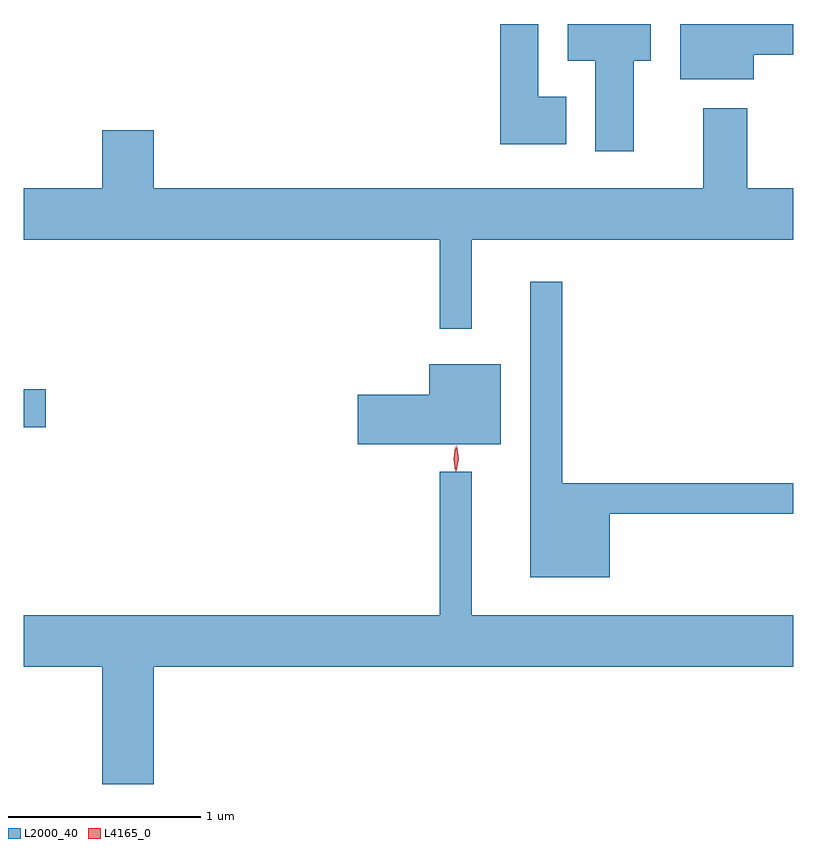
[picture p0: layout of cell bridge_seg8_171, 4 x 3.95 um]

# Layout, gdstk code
import gdstk
lib = gdstk.Library(unit=1e-6, precision=1e-09)
def R(c, l, rs):  # rectangles x0, y0, x1, y1
    for r in rs: c.add(gdstk.rectangle(r[:2], r[2:], *l))
def P(c, l, *ps):  # polygons
    for p in ps: c.add(gdstk.Polygon(p, *l))
L2000_40 = (2000, 40)
L4165_0 = (4165, 0)

bridge_seg8_171 = lib.new_cell('bridge_seg8_171')
R(bridge_seg8_171, L2000_40, [(1413.469,1942.001,1413.584,1942.199)])
P(bridge_seg8_171, L2000_40, [(1416.639,1943.906),(1416.729,1943.906),(1416.729,1944.097),(1416.296,1944.097),(1416.296,1943.906),(1416.441,1943.906),(1416.441,1943.436),(1416.639,1943.436)],
  [(1416.289,1943.719),(1416.144,1943.719),(1416.144,1944.097),(1415.946,1944.097),(1415.946,1943.471),(1416.289,1943.471)],
  [(1417.264,1943.936),(1417.469,1943.936),(1417.469,1944.097),(1416.881,1944.097),(1416.881,1943.811),(1417.264,1943.811)],
  [(1415.799,1942.976),(1417.469,1942.976),(1417.469,1943.244),(1417.229,1943.244),(1417.229,1943.659),(1417.001,1943.659),(1417.001,1943.244),(1414.144,1943.244),(1414.144,1943.544),(1413.876,1943.544),(1413.876,1943.244),(1413.469,1943.244),(1413.469,1942.976),(1415.631,1942.976),(1415.631,1942.513),(1415.799,1942.513)],
  [(1416.514,1941.551),(1417.469,1941.551),(1417.469,1941.709),(1416.269,1941.709),(1416.269,1942.758),(1416.101,1942.758),(1416.101,1941.221),(1416.514,1941.221)],
  [(1415.949,1942.329),(1415.576,1942.329),(1415.576,1942.169),(1415.206,1942.169),(1415.206,1941.911),(1415.949,1941.911)],
  [(1414.144,1940.756),(1417.469,1940.756),(1417.469,1941.024),(1415.799,1941.024),(1415.799,1941.768),(1415.631,1941.768),(1415.631,1941.024),(1413.469,1941.024),(1413.469,1940.756),(1413.876,1940.756),(1413.876,1940.146),(1414.144,1940.146)])
P(bridge_seg8_171, L4165_0, [(1415.717,1941.77),(1415.709,1941.838),(1415.719,1941.905),(1415.719,1941.906),(1415.72,1941.905),(1415.729,1941.838),(1415.718,1941.77),(1415.718,1941.77)],
  [(1415.712,1941.773),(1415.703,1941.836),(1415.712,1941.899),(1415.713,1941.9),(1415.713,1941.899),(1415.723,1941.836),(1415.713,1941.773),(1415.713,1941.773)])

lib.write_gds('bridge_seg8_171.gds')
